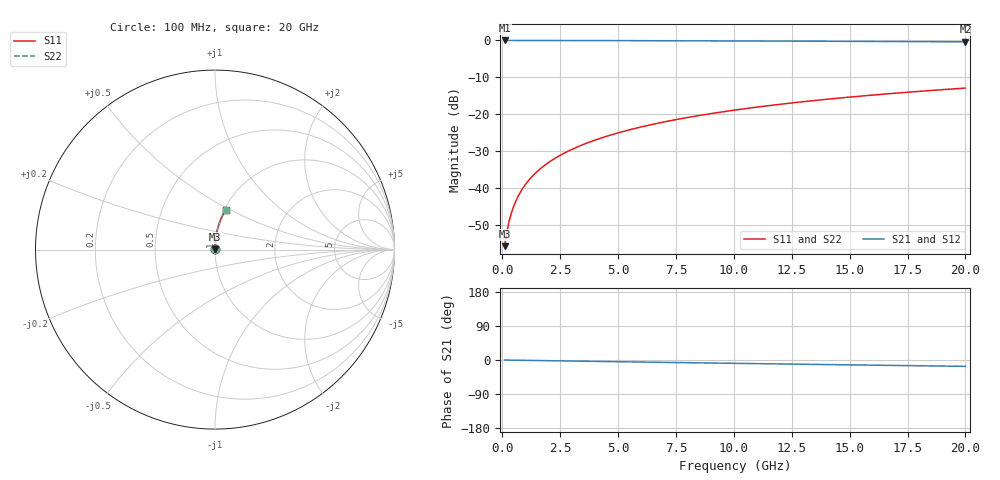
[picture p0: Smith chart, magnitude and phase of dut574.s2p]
! Touchstone file exported from HFSS 2024.1.0
!  File:  C:/UserFiles/LocalFiles/RDL_TSV_Batchsim/temp_RDL_bottom_574_1779690356.aedt
!  Generated:  02:28:57 PM May 25, 2026
!  Design:  RDL_bottom
!  Project:  temp_RDL_bottom_574_1779690356
!  Setup:  Setup1
!  Solution:  Sweep
! Variables:
!  dtsv = 10.80580581um
!  hbump = 3um
!  htsv = 68.37um
!  ldown = 158.43um
!  lrdl = 100um
!  p = 40
!  p1 = 59.8um
!  rhole = 1um
!  t = 450um
!  tdown = 3.79um
!  trdl = 3.915915916um
!  wdown = 14.5um
!  wrdl = 20um
# GHz S MA R 50.000000
! Terminal data exported
! Port[1] = RDL1_T1
! Port[2] = RDL1_T2
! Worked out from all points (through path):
!   200 points, 100 MHz to 20 GHz, reference 50 ohm
!   highest |S21| = -0.01 dB at 100 MHz (marker M1); lowest = -0.4 dB at 20 GHz (marker M2)
!   group delay of S21, straight-line fit = 2.32 ps
!   lowest |S11| = -55.6 dB at 100 MHz (marker M3), VSWR 1.00, Z = 50.1 + j0.115 ohm
!   |S11| at or under -10 dB: start of sweep to end of sweep
!   |S22| runs from -55.6 to -12.9 dB; largest |S21 - S12| = 4.3e-15
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0.1  0.001651 44.2  0.9988 -0.1  0.9988 -0.1  0.001651 44.2
! Gamma 0 0 0 0
! Port Impedance 50 0 50 0
0.2  0.002591 62.2  0.9988 -0.2  0.9988 -0.2  0.002591 62.2
0.3  0.003638 70.1  0.9987 -0.3  0.9987 -0.3  0.003638 70.1
0.4  0.004713 74.4  0.9987 -0.4  0.9987 -0.4  0.004713 74.4
0.5  0.005799 77.0  0.9987 -0.5  0.9987 -0.5  0.005799 77.0
0.6  0.006888 78.9  0.9986 -0.6  0.9986 -0.6  0.006888 78.9
0.8  0.009078 81.3  0.9985 -0.7  0.9985 -0.7  0.009078 81.3
1.1  0.01238 83.3  0.9984 -1.0  0.9984 -1.0  0.01238 83.3
1.5  0.01681 84.7  0.9982 -1.4  0.9982 -1.4  0.01681 84.7
1.8  0.02014 85.3  0.998 -1.7  0.998 -1.7  0.02014 85.3
2.1  0.02348 85.7  0.9977 -1.9  0.9977 -1.9  0.02348 85.7
2.7  0.03019 86.1  0.9971 -2.5  0.9971 -2.5  0.03019 86.1
3.5  0.03918 86.3  0.9962 -3.2  0.9962 -3.2  0.03918 86.3
4.2  0.0471 86.2  0.9952 -3.8  0.9952 -3.8  0.0471 86.2
5  0.0562 86.0  0.9939 -4.5  0.9939 -4.5  0.0562 86.0
5.9  0.06649 85.6  0.9923 -5.3  0.9923 -5.3  0.06649 85.6
6.8  0.07684 85.1  0.9906 -6.1  0.9906 -6.1  0.07684 85.1
8.3  0.09416 84.2  0.9875 -7.4  0.9875 -7.4  0.09416 84.2
10.1  0.115 82.9  0.9836 -8.9  0.9836 -8.9  0.115 82.9
13.4  0.153 80.4  0.9757 -11.6  0.9757 -11.6  0.153 80.4
16.7  0.1903 77.7  0.9671 -14.2  0.9671 -14.2  0.1903 77.7
20  0.2267 75.0  0.9577 -16.8  0.9577 -16.8  0.2267 75.0
